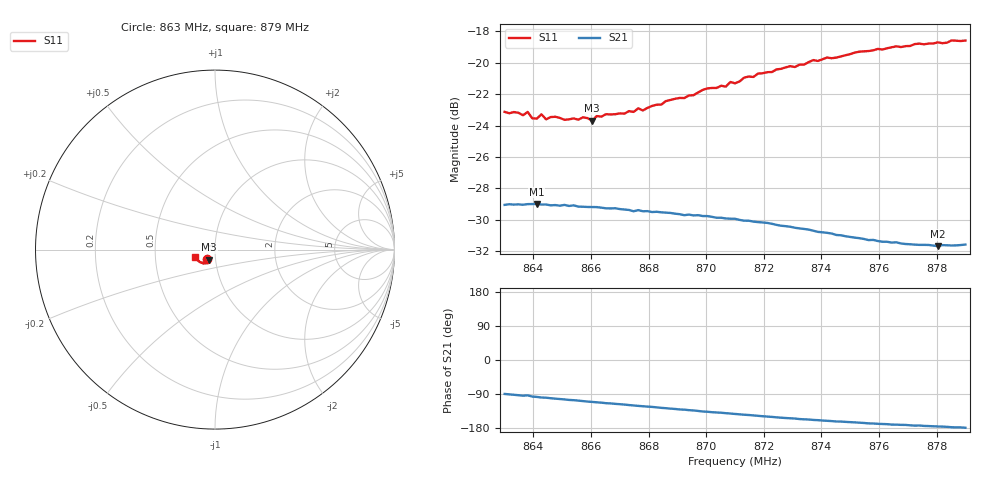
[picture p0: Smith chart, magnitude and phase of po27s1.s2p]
# HZ S RI R 50
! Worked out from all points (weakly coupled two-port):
!   101 points, 863 MHz to 879 MHz, reference 50 ohm
!   highest |S21| = -28.99 dB at 864.12 MHz (marker M1); lowest = -31.7 dB at 878.04 MHz (marker M2)
!   lowest |S11| = -23.7 dB at 866.04 MHz (marker M3), VSWR 1.14, Z = 46.5 - j5.25 ohm
!   |S11| at or under -10 dB: start of sweep to end of sweep
!   S12 and S22 are empty: the file has one direction only
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8.63e8  -0.0441 -0.0541  0.000278 -0.0353  0 0  0 0
8.6364e8  -0.042 -0.0535  -0.00257 -0.0352  0 0  0 0
8.638e8  -0.0431 -0.0548  -0.002 -0.0354  0 0  0 0
8.6396e8  -0.0399 -0.0532  -0.00398 -0.0353  0 0  0 0
8.6412e8  -0.0393 -0.0535  -0.00462 -0.0352  0 0  0 0
8.6428e8  -0.0402 -0.0555  -0.00553 -0.0349  0 0  0 0
8.6444e8  -0.0379 -0.054  -0.00582 -0.0349  0 0  0 0
8.6572e8  -0.0356 -0.0568  -0.011 -0.033  0 0  0 0
8.6604e8  -0.0333 -0.0562  -0.0122 -0.0325  0 0  0 0
8.662e8  -0.0355 -0.0576  -0.0128 -0.0322  0 0  0 0
8.6716e8  -0.0329 -0.0605  -0.0158 -0.0302  0 0  0 0
8.6764e8  -0.0348 -0.0625  -0.0175 -0.0291  0 0  0 0
8.678e8  -0.0341 -0.0617  -0.0179 -0.0285  0 0  0 0
8.6844e8  -0.0354 -0.0645  -0.0198 -0.0269  0 0  0 0
8.7004e8  -0.0411 -0.072  -0.0236 -0.0224  0 0  0 0
8.71e8  -0.0451 -0.0733  -0.0252 -0.0194  0 0  0 0
8.7132e8  -0.0493 -0.0749  -0.0255 -0.0183  0 0  0 0
8.7308e8  -0.0607 -0.0755  -0.0269 -0.0129  0 0  0 0
8.7372e8  -0.0675 -0.0765  -0.0271 -0.0109  0 0  0 0
8.7644e8  -0.0927 -0.0629  -0.0264 -0.00444  0 0  0 0
8.7804e8  -0.1045 -0.0507  -0.026 -0.00207  0 0  0 0
8.79e8  -0.1103 -0.0408  -0.0264 -0.000541  0 0  0 0
